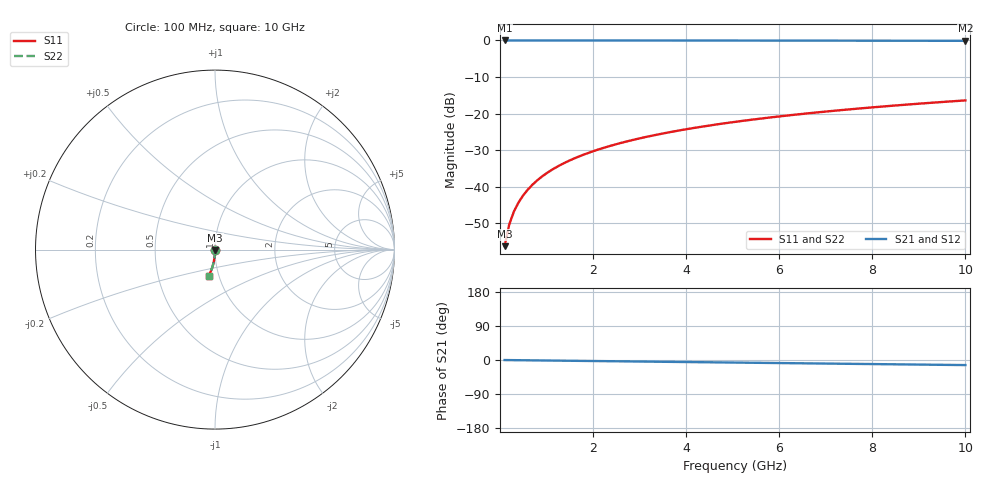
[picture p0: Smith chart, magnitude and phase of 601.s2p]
# Hz S RI R 50.00
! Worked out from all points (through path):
!   100 points, 100 MHz to 10 GHz, reference 50 ohm
!   highest |S21| = 0.00 dB at 100 MHz (marker M1); lowest = -0.1 dB at 10 GHz (marker M2)
!   group delay of S21, straight-line fit = 3.73 ps
!   lowest |S11| = -56.3 dB at 100 MHz (marker M3), VSWR 1.00, Z = 50 - j0.153 ohm
!   |S11| at or under -10 dB: start of sweep to end of sweep
!   |S22| runs from -56.3 to -16.4 dB; largest |S21 - S12| = 0
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1e8  0.000189 -0.00153  0.9998 -0.00234  0.9998 -0.00234  0.000189 -0.00153
2e8  0.000178 -0.00305  0.9998 -0.00468  0.9998 -0.00468  0.000178 -0.00305
3e8  0.00016 -0.00458  0.9998 -0.00701  0.9998 -0.00701  0.00016 -0.00458
4e8  0.000133 -0.0061  0.9997 -0.00935  0.9997 -0.00935  0.000133 -0.0061
5e8  0.0001 -0.00763  0.9997 -0.0117  0.9997 -0.0117  0.0001 -0.00763
6e8  5.97e-05 -0.00915  0.9996 -0.014  0.9996 -0.014  5.97e-05 -0.00915
7e8  1.2e-05 -0.0107  0.9996 -0.0164  0.9996 -0.0164  1.2e-05 -0.0107
8e8  -4.29e-05 -0.0122  0.9995 -0.0187  0.9995 -0.0187  -4.29e-05 -0.0122
9e8  -0.000105 -0.0137  0.9995 -0.021  0.9995 -0.021  -0.000105 -0.0137
1.1e9  -0.00025 -0.0168  0.9993 -0.0257  0.9993 -0.0257  -0.00025 -0.0168
1.4e9  -0.000523 -0.0214  0.999 -0.0327  0.999 -0.0327  -0.000523 -0.0214
1.8e9  -0.000985 -0.0274  0.9985 -0.0421  0.9985 -0.0421  -0.000985 -0.0274
2.1e9  -0.00141 -0.032  0.998 -0.0491  0.998 -0.0491  -0.00141 -0.032
2.5e9  -0.00207 -0.0381  0.9973 -0.0584  0.9973 -0.0584  -0.00207 -0.0381
2.9e9  -0.00285 -0.0442  0.9965 -0.0677  0.9965 -0.0677  -0.00285 -0.0442
3.4e9  -0.00398 -0.0517  0.9952 -0.0794  0.9952 -0.0794  -0.00398 -0.0517
4.2e9  -0.00616 -0.0638  0.9928 -0.098  0.9928 -0.098  -0.00616 -0.0638
5.1e9  -0.00915 -0.0772  0.9896 -0.1188  0.9896 -0.1188  -0.00915 -0.0772
5.9e9  -0.0123 -0.089  0.9861 -0.1371  0.9861 -0.1371  -0.0123 -0.089
6.7e9  -0.0158 -0.1007  0.9822 -0.1554  0.9822 -0.1554  -0.0158 -0.1007
8.4e9  -0.0249 -0.1251  0.9723 -0.1938  0.9723 -0.1938  -0.0249 -0.1251
1e10  -0.0351 -0.1472  0.9611 -0.2291  0.9611 -0.2291  -0.0351 -0.1472
